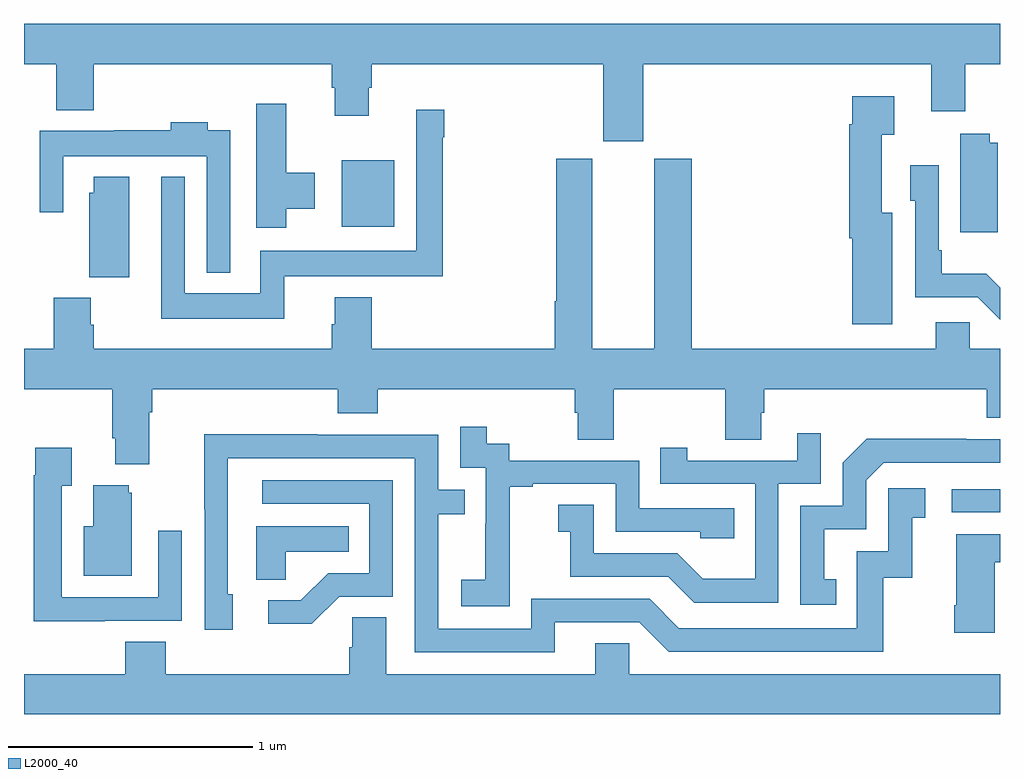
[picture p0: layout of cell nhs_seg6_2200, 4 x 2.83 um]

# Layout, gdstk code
import gdstk
lib = gdstk.Library(unit=1e-6, precision=1e-09)
def R(c, l, rs):  # rectangles x0, y0, x1, y1
    for r in rs: c.add(gdstk.rectangle(r[:2], r[2:], *l))
def P(c, l, *ps):  # polygons
    for p in ps: c.add(gdstk.Polygon(p, *l))
L2000_40 = (2000, 40)

nhs_seg6_2200 = lib.new_cell('nhs_seg6_2200')
R(nhs_seg6_2200, L2000_40, [(244.803,993.45,245,993.546), (242.303,994.622,242.518,994.894)])
P(nhs_seg6_2200, L2000_40, [(243.538,995.288),(244.718,995.288),(244.718,995.094),(244.858,995.094),(244.858,995.288),(245,995.288),(245,995.452),(241,995.452),(241,995.288),(241.133,995.288),(241.133,995.099),(241.286,995.099),(241.286,995.288),(242.261,995.288),(242.261,995.19),(242.273,995.19),(242.273,995.076),(242.413,995.076),(242.413,995.19),(242.426,995.19),(242.426,995.288),(243.374,995.288),(243.374,994.971),(243.538,994.971)],
  [(244.558,994.678),(244.516,994.678),(244.516,994.999),(244.567,994.999),(244.567,995.155),(244.394,995.155),(244.394,995.042),(244.382,995.042),(244.382,994.574),(244.394,994.574),(244.394,994.221),(244.558,994.221)],
  [(242.074,994.694),(242.191,994.694),(242.191,994.842),(242.074,994.842),(242.074,995.125),(241.952,995.125),(241.952,994.617),(242.074,994.617)],
  [(242.066,994.418),(242.716,994.418),(242.716,994.988),(242.723,994.988),(242.723,995.101),(242.607,995.101),(242.607,994.522),(241.968,994.522),(241.968,994.348),(241.659,994.348),(241.659,994.825),(241.562,994.825),(241.562,994.244),(242.066,994.244)],
  [(241.845,995.017),(241.753,995.017),(241.753,995.05),(241.601,995.05),(241.601,995.017),(241.369,995.017),(241.369,995.014),(241.065,995.014),(241.065,994.68),(241.161,994.68),(241.161,994.91),(241.749,994.91),(241.749,994.433),(241.845,994.433)],
  [(244.99,994.966),(244.958,994.966),(244.958,995.003),(244.838,995.003),(244.838,994.599),(244.99,994.599)],
  [(243.181,994.316),(243.176,994.316),(243.176,994.12),(242.426,994.12),(242.426,994.333),(242.273,994.333),(242.273,994.221),(242.261,994.221),(242.261,994.12),(241.286,994.12),(241.286,994.22),(241.273,994.22),(241.273,994.329),(241.121,994.329),(241.121,994.12),(241,994.12),(241,993.956),(241.361,993.956),(241.361,993.754),(241.373,993.754),(241.373,993.647),(241.513,993.647),(241.513,993.86),(241.526,993.86),(241.526,993.956),(242.285,993.956),(242.285,993.857),(242.45,993.857),(242.45,993.956),(243.257,993.956),(243.257,993.858),(243.269,993.858),(243.269,993.748),(243.417,993.748),(243.417,993.956),(243.874,993.956),(243.874,993.748),(244.021,993.748),(244.021,993.858),(244.034,993.858),(244.034,993.956),(244.946,993.956),(244.946,993.839),(245,993.839),(245,994.12),(244.875,994.12),(244.875,994.23),(244.736,994.23),(244.736,994.12),(243.737,994.12),(243.737,994.899),(243.584,994.899),(243.584,994.12),(243.328,994.12),(243.328,994.899),(243.181,994.899)],
  [(245,994.372),(244.943,994.429),(244.762,994.429),(244.762,994.525),(244.749,994.525),(244.749,994.873),(244.632,994.873),(244.632,994.728),(244.653,994.728),(244.653,994.332),(244.908,994.332),(245,994.24)],
  [(241.432,994.825),(241.286,994.825),(241.286,994.761),(241.268,994.761),(241.268,994.414),(241.432,994.414)],
  [(242.991,993.271),(242.99,993.271),(242.99,993.555),(243.085,993.555),(243.085,993.567),(243.426,993.567),(243.426,993.372),(243.771,993.372),(243.771,993.345),(243.911,993.345),(243.911,993.468),(243.522,993.468),(243.522,993.663),(242.988,993.663),(242.988,993.732),(242.896,993.732),(242.896,993.802),(242.787,993.802),(242.787,993.633),(242.892,993.633),(242.892,993.404),(242.891,993.404),(242.891,993.175),(242.793,993.175),(242.793,993.065),(242.991,993.065)],
  [(244.092,993.567),(244.266,993.567),(244.266,993.775),(244.169,993.775),(244.169,993.663),(243.718,993.663),(243.718,993.715),(243.607,993.715),(243.607,993.567),(243.996,993.567),(243.996,993.178),(243.782,993.178),(243.678,993.282),(243.336,993.282),(243.336,993.481),(243.189,993.481),(243.189,993.371),(243.238,993.371),(243.238,993.186),(243.641,993.186),(243.746,993.081),(244.092,993.081)],
  [(243.175,993),(243.522,993),(243.642,992.88),(244.522,992.88),(244.522,993.183),(244.64,993.183),(244.64,993.429),(244.693,993.429),(244.693,993.55),(244.542,993.55),(244.542,993.291),(244.413,993.291),(244.413,992.976),(243.684,992.976),(243.564,993.096),(243.078,993.096),(243.078,992.973),(242.697,992.973),(242.697,993.442),(242.807,993.442),(242.807,993.543),(242.697,993.543),(242.697,993.768),(242.201,993.768),(242.201,993.77),(241.738,993.77),(241.738,993.463),(241.74,993.463),(241.74,992.97),(241.855,992.97),(241.855,993.114),(241.836,993.114),(241.836,993.672),(242.601,993.672),(242.601,992.877),(243.175,992.877)],
  [(244.328,993.177),(244.279,993.177),(244.279,993.381),(244.452,993.381),(244.452,993.582),(244.524,993.654),(245,993.654),(245,993.75),(244.862,993.75),(244.862,993.752),(244.454,993.752),(244.356,993.654),(244.356,993.477),(244.182,993.477),(244.182,993.072),(244.328,993.072)],
  [(241.331,993.006),(241.647,993.006),(241.647,993.376),(241.551,993.376),(241.551,993.102),(241.155,993.102),(241.155,993.559),(241.195,993.559),(241.195,993.715),(241.047,993.715),(241.047,993.602),(241.039,993.602),(241.039,993.005),(241.331,993.005)],
  [(242.292,993.105),(242.511,993.105),(242.511,993.582),(241.977,993.582),(241.977,993.486),(242.415,993.486),(242.415,993.201),(242.246,993.201),(242.135,993.09),(242.001,993.09),(242.001,992.993),(242.179,992.993)],
  [(241.441,993.531),(241.43,993.531),(241.43,993.562),(241.283,993.562),(241.283,993.394),(241.244,993.394),(241.244,993.191),(241.441,993.191)],
  [(242.073,993.29),(242.33,993.29),(242.33,993.394),(241.952,993.394),(241.952,993.175),(242.073,993.175)],
  [(244.978,993.247),(245,993.247),(245,993.361),(244.82,993.361),(244.82,993.07),(244.813,993.07),(244.813,992.958),(244.978,992.958)],
  [(245,992.788),(243.48,992.788),(243.48,992.915),(243.341,992.915),(243.341,992.788),(242.485,992.788),(242.485,993.02),(242.346,993.02),(242.346,992.897),(242.333,992.897),(242.333,992.788),(241.58,992.788),(241.58,992.921),(241.415,992.921),(241.415,992.788),(241,992.788),(241,992.624),(245,992.624)])

lib.write_gds('nhs_seg6_2200.gds')
